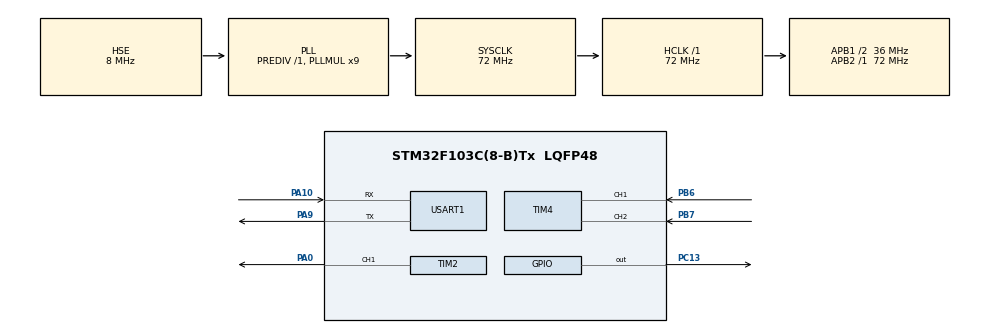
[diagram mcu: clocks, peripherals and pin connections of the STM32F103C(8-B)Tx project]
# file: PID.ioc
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Dma.Request0=USART1_RX
Dma.Request1=USART1_TX
Dma.USART1_RX.0.Direction=DMA_PERIPH_TO_MEMORY
Dma.USART1_RX.0.Instance=DMA1_Channel5
Dma.USART1_RX.0.MemDataAlignment=DMA_MDATAALIGN_BYTE
Dma.USART1_RX.0.MemInc=DMA_MINC_ENABLE
Dma.USART1_RX.0.Mode=DMA_NORMAL
Dma.USART1_RX.0.PeriphDataAlignment=DMA_PDATAALIGN_BYTE
Dma.USART1_RX.0.PeriphInc=DMA_PINC_DISABLE
Dma.USART1_RX.0.Priority=DMA_PRIORITY_LOW
Dma.USART1_TX.1.Direction=DMA_MEMORY_TO_PERIPH
Dma.USART1_TX.1.Instance=DMA1_Channel4
Dma.USART1_TX.1.MemDataAlignment=DMA_MDATAALIGN_BYTE
Dma.USART1_TX.1.MemInc=DMA_MINC_ENABLE
Dma.USART1_TX.1.Mode=DMA_NORMAL
Dma.USART1_TX.1.PeriphDataAlignment=DMA_PDATAALIGN_BYTE
Dma.USART1_TX.1.PeriphInc=DMA_PINC_DISABLE
Dma.USART1_TX.1.Priority=DMA_PRIORITY_LOW
FREERTOS.Tasks01=PID,0,128,StartPID,Default,NULL,Dynamic,NULL,NULL
Mcu.Family=STM32F1
Mcu.Name=STM32F103C(8-B)Tx
Mcu.Package=LQFP48
NVIC.DMA1_Channel4_IRQn=true\:5\:0\:false\:false\:true\:true\:false\:true\:true
NVIC.DMA1_Channel5_IRQn=true\:5\:0\:false\:false\:true\:true\:false\:true\:true
NVIC.PriorityGroup=NVIC_PRIORITYGROUP_4
NVIC.TIM3_IRQn=true\:15\:0\:false\:false\:true\:false\:false\:true\:true
NVIC.TimeBase=TIM3_IRQn
NVIC.TimeBaseIP=TIM3
NVIC.USART1_IRQn=true\:5\:0\:false\:false\:true\:true\:true\:true\:true
PA0-WKUP.Signal=S_TIM2_CH1_ETR
PA10.Mode=Asynchronous
PA10.Signal=USART1_RX
PA13.Mode=Serial_Wire
PA13.Signal=SYS_JTMS-SWDIO
PA14.Mode=Serial_Wire
PA14.Signal=SYS_JTCK-SWCLK
PA9.Mode=Asynchronous
PA9.Signal=USART1_TX
PB6.GPIO_PuPd=GPIO_PULLUP
PB6.Signal=S_TIM4_CH1
PB7.GPIO_PuPd=GPIO_PULLUP
PB7.Signal=S_TIM4_CH2
PC13-TAMPER-RTC.Signal=GPIO_Output
PC14-OSC32_IN.Mode=LSE-External-Oscillator
PC14-OSC32_IN.Signal=RCC_OSC32_IN
PC15-OSC32_OUT.Mode=LSE-External-Oscillator
PC15-OSC32_OUT.Signal=RCC_OSC32_OUT
PD0-OSC_IN.Mode=HSE-External-Oscillator
PD0-OSC_IN.Signal=RCC_OSC_IN
PD1-OSC_OUT.Mode=HSE-External-Oscillator
PD1-OSC_OUT.Signal=RCC_OSC_OUT
ProjectManager.HeapSize=0x200
ProjectManager.StackSize=0x400
ProjectManager.TargetToolchain=MDK-ARM V5.32
RCC.AHBFreq_Value=72000000
RCC.APB1CLKDivider=RCC_HCLK_DIV2
RCC.APB1Freq_Value=36000000
RCC.APB1TimFreq_Value=72000000
RCC.APB2Freq_Value=72000000
RCC.APB2TimFreq_Value=72000000
RCC.HCLKFreq_Value=72000000
RCC.PLLMUL=RCC_PLL_MUL9
RCC.PLLSourceVirtual=RCC_PLLSOURCE_HSE
RCC.SYSCLKFreq_VALUE=72000000
RCC.SYSCLKSource=RCC_SYSCLKSOURCE_PLLCLK
RCC.USBFreq_Value=72000000
SH.S_TIM2_CH1_ETR.0=TIM2_CH1,PWM Generation1 CH1
SH.S_TIM4_CH1.0=TIM4_CH1,Encoder_Interface
SH.S_TIM4_CH2.0=TIM4_CH2,Encoder_Interface
TIM2.Channel-PWM\ Generation1\ CH1=TIM_CHANNEL_1
TIM2.Period=1000-1
TIM2.Prescaler=720-1
TIM4.EncoderMode=TIM_ENCODERMODE_TI12
USART1.VirtualMode=VM_ASYNC
VP_FREERTOS_VS_CMSIS_V1.Mode=CMSIS_V1
VP_SYS_VS_tim3.Mode=TIM3
VP_TIM2_VS_ClockSourceINT.Mode=Internal
board=custom

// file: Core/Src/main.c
/* USER CODE BEGIN Header */
/**
  ******************************************************************************
  * @file           : main.c
  * @brief          : Main program body
  ******************************************************************************
  * @attention
  *
  * Copyright (c) 2025 STMicroelectronics.
  * All rights reserved.
  *
  * This software is licensed under terms that can be found in the LICENSE file
  * in the root directory of this software component.
  * If no LICENSE file comes with this software, it is provided AS-IS.
  *
  ******************************************************************************
  */
/* USER CODE END Header */
#include "main.h"
#include "cmsis_os.h"
#include "dma.h"
#include "tim.h"
#include "usart.h"
#include "gpio.h"

/* USER CODE BEGIN Includes */

#define BUFFER_LEN 256  //缓冲区长度

uint8_t rx_buffer[BUFFER_LEN] = {0}; //缓冲区
uint8_t tx_buffer[BUFFER_LEN] = {0}; //用来发送单次传输的数据
volatile uint8_t complete_flag = 0;  //接收完成标志
volatile uint16_t tx_index; //tx遍历标志
volatile uint16_t rx_index; //rx遍历标志
uint16_t head = 0;  //单次数据在缓冲区的开始位置
uint16_t all_datalen = 0;  //总数据长度
uint16_t datalen = 0;  //单次数据长度

/* USER CODE END Includes */

void SystemClock_Config(void);
void MX_FREERTOS_Init(void);

int main(void)
{

  /* MCU Configuration--------------------------------------------------------*/

  /* Reset of all peripherals, Initializes the Flash interface and the Systick. */
  HAL_Init();

  /* Configure the system clock */
  SystemClock_Config();

  /* Initialize all configured peripherals */
  MX_GPIO_Init();
  MX_DMA_Init();
  MX_USART1_UART_Init();
  MX_TIM2_Init();
  MX_TIM4_Init();

  /* Call init function for freertos objects (in cmsis_os2.c) */
  MX_FREERTOS_Init();

  /* Start scheduler */
  osKernelStart();

  /* We should never get here as control is now taken by the scheduler */

  /* Infinite loop */
  while (1)
  {

  }
}

void SystemClock_Config(void)
{
  RCC_OscInitTypeDef RCC_OscInitStruct = {0};
  RCC_ClkInitTypeDef RCC_ClkInitStruct = {0};

  /** Initializes the RCC Oscillators according to the specified parameters
  * in the RCC_OscInitTypeDef structure.
  */
  RCC_OscInitStruct.OscillatorType = RCC_OSCILLATORTYPE_HSE;
  RCC_OscInitStruct.HSEState = RCC_HSE_ON;
  RCC_OscInitStruct.HSEPredivValue = RCC_HSE_PREDIV_DIV1;
  RCC_OscInitStruct.HSIState = RCC_HSI_ON;
  RCC_OscInitStruct.PLL.PLLState = RCC_PLL_ON;
  RCC_OscInitStruct.PLL.PLLSource = RCC_PLLSOURCE_HSE;
  RCC_OscInitStruct.PLL.PLLMUL = RCC_PLL_MUL9;
  if (HAL_RCC_OscConfig(&RCC_OscInitStruct) != HAL_OK)
  {
    Error_Handler();
  }

  /** Initializes the CPU, AHB and APB buses clocks
  */
  RCC_ClkInitStruct.ClockType = RCC_CLOCKTYPE_HCLK|RCC_CLOCKTYPE_SYSCLK
                              |RCC_CLOCKTYPE_PCLK1|RCC_CLOCKTYPE_PCLK2;
  RCC_ClkInitStruct.SYSCLKSource = RCC_SYSCLKSOURCE_PLLCLK;
  RCC_ClkInitStruct.AHBCLKDivider = RCC_SYSCLK_DIV1;
  RCC_ClkInitStruct.APB1CLKDivider = RCC_HCLK_DIV2;
  RCC_ClkInitStruct.APB2CLKDivider = RCC_HCLK_DIV1;

  if (HAL_RCC_ClockConfig(&RCC_ClkInitStruct, FLASH_LATENCY_2) != HAL_OK)
  {
    Error_Handler();
  }
}

void HAL_TIM_PeriodElapsedCallback(TIM_HandleTypeDef *htim)
{
  if (htim->Instance == TIM3)
  {
    HAL_IncTick();
  }
}

void Error_Handler(void)
{
  __disable_irq();
  while (1)
  {
  }
}

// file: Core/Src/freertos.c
/* USER CODE BEGIN Header */
/**
  ******************************************************************************
  * File Name          : freertos.c
  * Description        : Code for freertos applications
  ******************************************************************************
  * @attention
  *
  * Copyright (c) 2025 STMicroelectronics.
  * All rights reserved.
  *
  * This software is licensed under terms that can be found in the LICENSE file
  * in the root directory of this software component.
  * If no LICENSE file comes with this software, it is provided AS-IS.
  *
  ******************************************************************************
  */
/* USER CODE END Header */

#include "FreeRTOS.h"
#include "task.h"
#include "main.h"
#include "cmsis_os.h"

/* USER CODE BEGIN Includes */

#include "tim.h"
#include "motor_ctrl.h"
#include "app_encoder.h"

/* USER CODE END Includes */

osThreadId PIDHandle;

void StartPID(void const * argument);

void MX_FREERTOS_Init(void); /* (MISRA C 2004 rule 8.1) */

/* GetIdleTaskMemory prototype (linked to static allocation support) */
void vApplicationGetIdleTaskMemory( StaticTask_t **ppxIdleTaskTCBBuffer, StackType_t **ppxIdleTaskStackBuffer, uint32_t *pulIdleTaskStackSize );

/* USER CODE BEGIN GET_IDLE_TASK_MEMORY */
static StaticTask_t xIdleTaskTCBBuffer;
static StackType_t xIdleStack[configMINIMAL_STACK_SIZE];

void vApplicationGetIdleTaskMemory( StaticTask_t **ppxIdleTaskTCBBuffer, StackType_t **ppxIdleTaskStackBuffer, uint32_t *pulIdleTaskStackSize )
{
  *ppxIdleTaskTCBBuffer = &xIdleTaskTCBBuffer;
  *ppxIdleTaskStackBuffer = &xIdleStack[0];
  *pulIdleTaskStackSize = configMINIMAL_STACK_SIZE;
  /* place for user code */
}
/* USER CODE END GET_IDLE_TASK_MEMORY */

void MX_FREERTOS_Init(void) {

  /* Create the thread(s) */
  /* definition and creation of PID */
  osThreadDef(PID, StartPID, osPriorityNormal, 0, 128);
  PIDHandle = osThreadCreate(osThread(PID), NULL);

}

void StartPID(void const * argument)
{
  /* USER CODE BEGIN StartPID */

	Encoder_Init();//编码器初始化
	HAL_TIM_PWM_Start(&htim2,TIM_CHANNEL_1);//开启PWM
	Motor_Init(1.0);//PID控制器初始化

  /* Infinite loop */
  for(;;)
  {
		Motor_Excu();

  }
  /* USER CODE END StartPID */
}
